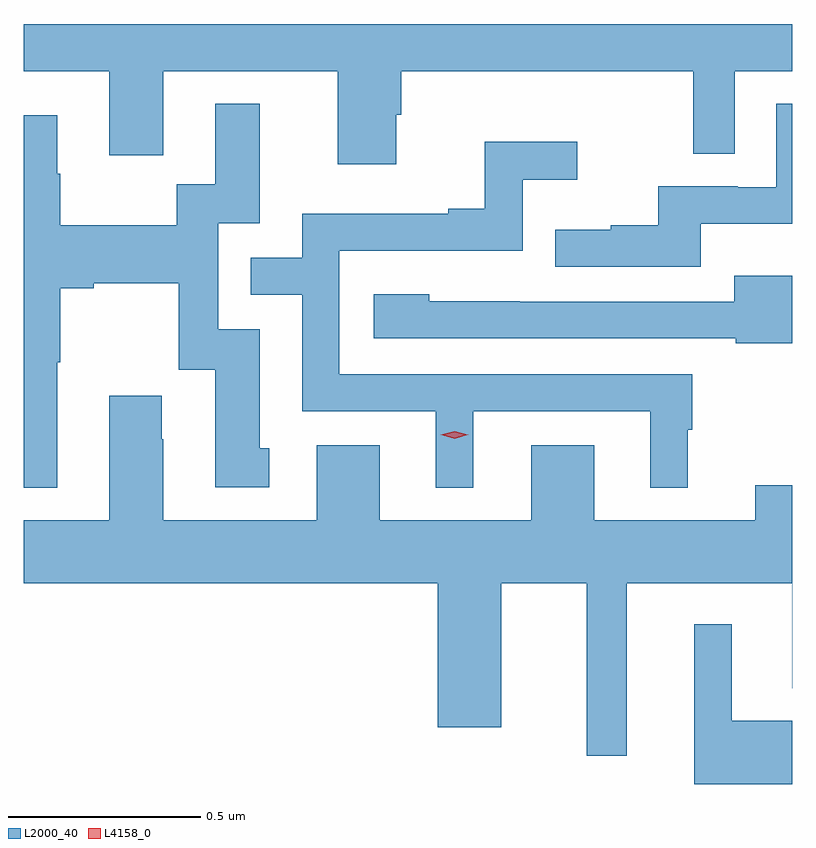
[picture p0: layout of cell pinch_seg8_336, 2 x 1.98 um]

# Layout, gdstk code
import gdstk
lib = gdstk.Library(unit=1e-6, precision=1e-09)
def P(c, l, *ps):  # polygons
    for p in ps: c.add(gdstk.Polygon(p, *l))
L2000_40 = (2000, 40)
L4158_0 = (4158, 0)

pinch_seg8_336 = lib.new_cell('pinch_seg8_336')
P(pinch_seg8_336, L2000_40, [(488.575,1160.343),(488.588,1160.343),(488.588,1160.456),(489.348,1160.456),(489.348,1160.242),(489.456,1160.242),(489.456,1160.456),(489.606,1160.456),(489.606,1160.579),(487.606,1160.579),(487.606,1160.456),(487.829,1160.456),(487.829,1160.238),(487.969,1160.238),(487.969,1160.456),(488.423,1160.456),(488.423,1160.214),(488.575,1160.214)],
  [(489.367,1160.06),(489.606,1160.06),(489.606,1160.371),(489.564,1160.371),(489.564,1160.154),(489.464,1160.154),(489.464,1160.157),(489.257,1160.157),(489.257,1160.056),(489.133,1160.056),(489.133,1160.044),(488.989,1160.044),(488.989,1159.947),(489.367,1159.947)],
  [(487.693,1159.699),(487.701,1159.699),(487.701,1159.892),(487.789,1159.892),(487.789,1159.904),(488.009,1159.904),(488.009,1159.68),(488.105,1159.68),(488.105,1159.374),(488.245,1159.374),(488.245,1159.476),(488.221,1159.476),(488.221,1159.785),(488.112,1159.785),(488.112,1160.061),(488.221,1160.061),(488.221,1160.371),(488.105,1160.371),(488.105,1160.162),(488.004,1160.162),(488.004,1160.056),(487.701,1160.056),(487.701,1160.19),(487.693,1160.19),(487.693,1160.341),(487.606,1160.341),(487.606,1159.373),(487.693,1159.373)],
  [(488.776,1159.572),(489.236,1159.572),(489.236,1159.373),(489.334,1159.373),(489.334,1159.524),(489.346,1159.524),(489.346,1159.668),(488.427,1159.668),(488.427,1159.989),(488.904,1159.989),(488.904,1160.174),(489.046,1160.174),(489.046,1160.273),(488.806,1160.273),(488.806,1160.098),(488.711,1160.098),(488.711,1160.085),(488.331,1160.085),(488.331,1159.971),(488.197,1159.971),(488.197,1159.875),(488.331,1159.875),(488.331,1159.572),(488.678,1159.572),(488.678,1159.373),(488.776,1159.373)],
  [(489.606,1159.924),(489.455,1159.924),(489.455,1159.857),(488.897,1159.857),(488.897,1159.858),(488.661,1159.858),(488.661,1159.876),(488.517,1159.876),(488.517,1159.761),(489.459,1159.761),(489.459,1159.749),(489.606,1159.749)],
  [(489.175,1159.124),(489.605,1159.124),(489.605,1158.851),(489.606,1158.851),(489.606,1159.379),(489.509,1159.379),(489.509,1159.288),(489.091,1159.288),(489.091,1159.483),(488.927,1159.483),(488.927,1159.288),(488.533,1159.288),(488.533,1159.483),(488.369,1159.483),(488.369,1159.288),(487.969,1159.288),(487.969,1159.499),(487.966,1159.499),(487.966,1159.612),(487.829,1159.612),(487.829,1159.288),(487.606,1159.288),(487.606,1159.124),(488.684,1159.124),(488.684,1158.75),(488.848,1158.75),(488.848,1159.124),(489.071,1159.124),(489.071,1158.675),(489.175,1158.675)],
  [(489.606,1158.766),(489.448,1158.766),(489.448,1159.018),(489.35,1159.018),(489.35,1158.602),(489.606,1158.602)])
P(pinch_seg8_336, L4158_0, [(488.727,1159.5),(488.691,1159.51),(488.691,1159.51),(488.691,1159.51),(488.727,1159.52),(488.762,1159.51),(488.763,1159.51),(488.762,1159.51)])

lib.write_gds('pinch_seg8_336.gds')
